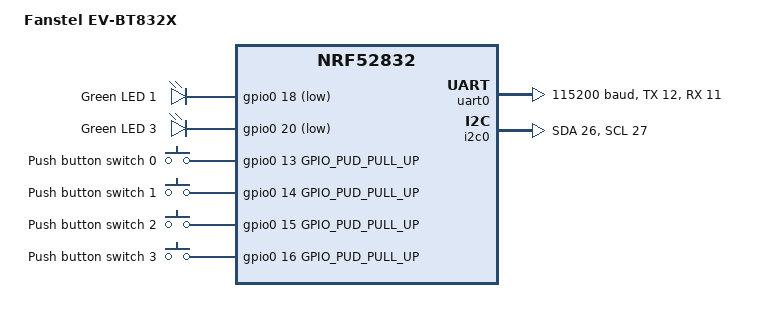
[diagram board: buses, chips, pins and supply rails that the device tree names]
/*
 * Copyright (c) 2019 SixOctets Systems
 *
 * SPDX-License-Identifier: Apache-2.0
 */

/dts-v1/;
#include <nordic/nrf52832_qfaa.dtsi>

/ {
	model = "Fanstel EV-BT832X";
	compatible = "fanstel-ev832x", "nordic,nrf52832-qfaa",
		     "nordic,nrf52832";

	chosen {
		zephyr,console = &uart0;
		zephyr,shell-uart = &uart0;
		zephyr,uart-mcumgr = &uart0;
		zephyr,sram = &sram0;
		zephyr,flash = &flash0;
	};

	leds {
		compatible = "gpio-leds";
		/* GPIO Pin 17 used by PA
		led0: led_0 {
			gpios = <&gpio0 17 GPIO_INT_ACTIVE_LOW>;
			label = "Green LED 0";
		};
		*/
		led1: led_1 {
			gpios = <&gpio0 18 GPIO_INT_ACTIVE_LOW>;
			label = "Green LED 1";
		};
		/* GPIO Pin 19 used by LNA
		led2: led_2 {
			gpios = <&gpio0 19 GPIO_INT_ACTIVE_LOW>;
			label = "Green LED 2";
		};
		*/
		led3: led_3 {
			gpios = <&gpio0 20 GPIO_INT_ACTIVE_LOW>;
			label = "Green LED 3";
		};
	};

	buttons {
		compatible = "gpio-keys";
		button0: button_0 {
			gpios = <&gpio0 13 GPIO_PUD_PULL_UP>;
			label = "Push button switch 0";
		};
		button1: button_1 {
			gpios = <&gpio0 14 GPIO_PUD_PULL_UP>;
			label = "Push button switch 1";
		};
		button2: button_2 {
			gpios = <&gpio0 15 GPIO_PUD_PULL_UP>;
			label = "Push button switch 2";
		};
		button3: button_3 {
			gpios = <&gpio0 16 GPIO_PUD_PULL_UP>;
			label = "Push button switch 3";
		};
	};

	/* These aliases are provided for compatibility with samples */
	aliases {
		/* led0 = &led0; */
		led1 = &led1;
		/* led2 = &led2; */
		led3 = &led3;
		sw0 = &button0;
		sw1 = &button1;
		sw2 = &button2;
		sw3 = &button3;
	};
};

&gpiote {
	status ="ok";
};

&gpio0 {
	status ="ok";
};

&uart0 {
	status = "ok";
	compatible = "nordic,nrf-uart";
	current-speed = <115200>;
	tx-pin = <12>;
	rx-pin = <11>;
};

&i2c0 {
	status = "ok";
	sda-pin = <26>;
	scl-pin = <27>;
};

&flash0 {
	/*
	 * For more information, see:
	 * http://docs.zephyrproject.org/devices/dts/flash_partitions.html
	 */
	partitions {
		compatible = "fixed-partitions";
		#address-cells = <1>;
		#size-cells = <1>;

		boot_partition: partition@0 {
			label = "mcuboot";
			reg = <0x00000000 0xc000>;
		};
		slot0_partition: partition@c000 {
			label = "image-0";
			reg = <0x0000C000 0x32000>;
		};
		slot1_partition: partition@3e000 {
			label = "image-1";
			reg = <0x0003E000 0x32000>;
		};
		scratch_partition: partition@70000 {
			label = "image-scratch";
			reg = <0x00070000 0xa000>;
		};
		storage_partition: partition@7a000 {
			label = "storage";
			reg = <0x0007a000 0x00006000>;
		};
	};
};
